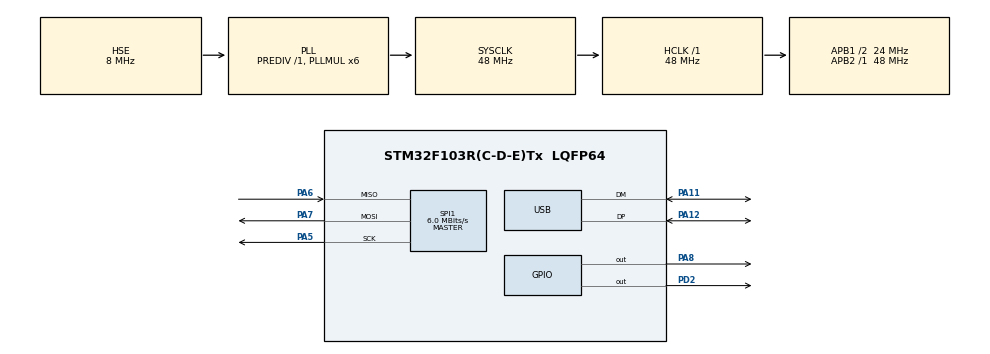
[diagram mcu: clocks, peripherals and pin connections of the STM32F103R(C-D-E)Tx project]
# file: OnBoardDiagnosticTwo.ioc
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Mcu.Family=STM32F1
Mcu.Name=STM32F103R(C-D-E)Tx
Mcu.Package=LQFP64
NVIC.PriorityGroup=NVIC_PRIORITYGROUP_4
NVIC.USB_LP_CAN1_RX0_IRQn=true\:0\:0\:false\:false\:true\:false
PA11.Mode=Device
PA11.Signal=USB_DM
PA12.Mode=Device
PA12.Signal=USB_DP
PA13.Mode=Serial_Wire
PA13.Signal=SYS_JTMS-SWDIO
PA14.Mode=Serial_Wire
PA14.Signal=SYS_JTCK-SWCLK
PA5.Mode=Full_Duplex_Master
PA5.Signal=SPI1_SCK
PA6.Mode=Full_Duplex_Master
PA6.Signal=SPI1_MISO
PA7.Mode=Full_Duplex_Master
PA7.Signal=SPI1_MOSI
PA8.Signal=GPIO_Output
PC14-OSC32_IN.Mode=LSE-External-Oscillator
PC14-OSC32_IN.Signal=RCC_OSC32_IN
PC15-OSC32_OUT.Mode=LSE-External-Oscillator
PC15-OSC32_OUT.Signal=RCC_OSC32_OUT
PD0-OSC_IN.Mode=HSE-External-Oscillator
PD0-OSC_IN.Signal=RCC_OSC_IN
PD1-OSC_OUT.Mode=HSE-External-Oscillator
PD1-OSC_OUT.Signal=RCC_OSC_OUT
PD2.Signal=GPIO_Output
ProjectManager.HeapSize=0x200
ProjectManager.StackSize=0x400
ProjectManager.TargetToolchain=MDK-ARM V5
RCC.AHBFreq_Value=48000000
RCC.APB1CLKDivider=RCC_HCLK_DIV2
RCC.APB1Freq_Value=24000000
RCC.APB1TimFreq_Value=48000000
RCC.APB2Freq_Value=48000000
RCC.APB2TimFreq_Value=48000000
RCC.HCLKFreq_Value=48000000
RCC.PLLMUL=RCC_PLL_MUL6
RCC.SYSCLKFreq_VALUE=48000000
RCC.SYSCLKSource=RCC_SYSCLKSOURCE_PLLCLK
RCC.USBFreq_Value=48000000
SPI1.BaudRatePrescaler=SPI_BAUDRATEPRESCALER_8
SPI1.CalculateBaudRate=6.0 MBits/s
SPI1.Direction=SPI_DIRECTION_2LINES
SPI1.Mode=SPI_MODE_MASTER
SPI1.VirtualType=VM_MASTER
USB_DEVICE.CLASS_NAME_FS=CDC
USB_DEVICE.VirtualMode=Cdc
USB_DEVICE.VirtualModeFS=Cdc_FS
VP_USB_DEVICE_VS_USB_DEVICE_CDC_FS.Mode=CDC_FS
board=custom

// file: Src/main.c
/* USER CODE BEGIN Header */
/**
  ******************************************************************************
  * @file           : main.c
  * @brief          : Main program body
  ******************************************************************************
  * This notice applies to any and all portions of this file
  * that are not between comment pairs USER CODE BEGIN and
  * USER CODE END. Other portions of this file, whether
  * inserted by the user or by software development tools
  * are owned by their respective copyright owners.
  *
  * Copyright (c) 2019 STMicroelectronics International N.V.
  * All rights reserved.
  *
  * Redistribution and use in source and binary forms, with or without
  * modification, are permitted, provided that the following conditions are met:
  *
  * 1. Redistribution of source code must retain the above copyright notice,
  *    this list of conditions and the following disclaimer.
  * 2. Redistributions in binary form must reproduce the above copyright notice,
  *    this list of conditions and the following disclaimer in the documentation
  *    and/or other materials provided with the distribution.
  * 3. Neither the name of STMicroelectronics nor the names of other
  *    contributors to this software may be used to endorse or promote products
  *    derived from this software without specific written permission.
  * 4. This software, including modifications and/or derivative works of this
  *    software, must execute solely and exclusively on microcontroller or
  *    microprocessor devices manufactured by or for STMicroelectronics.
  * 5. Redistribution and use of this software other than as permitted under
  *    this license is void and will automatically terminate your rights under
  *    this license.
  *
  * THIS SOFTWARE IS PROVIDED BY STMICROELECTRONICS AND CONTRIBUTORS "AS IS"
  * AND ANY EXPRESS, IMPLIED OR STATUTORY WARRANTIES, INCLUDING, BUT NOT
  * LIMITED TO, THE IMPLIED WARRANTIES OF MERCHANTABILITY, FITNESS FOR A
  * PARTICULAR PURPOSE AND NON-INFRINGEMENT OF THIRD PARTY INTELLECTUAL PROPERTY
  * RIGHTS ARE DISCLAIMED TO THE FULLEST EXTENT PERMITTED BY LAW. IN NO EVENT
  * SHALL STMICROELECTRONICS OR CONTRIBUTORS BE LIABLE FOR ANY DIRECT, INDIRECT,
  * INCIDENTAL, SPECIAL, EXEMPLARY, OR CONSEQUENTIAL DAMAGES (INCLUDING, BUT NOT
  * LIMITED TO, PROCUREMENT OF SUBSTITUTE GOODS OR SERVICES; LOSS OF USE, DATA,
  * OR PROFITS; OR BUSINESS INTERRUPTION) HOWEVER CAUSED AND ON ANY THEORY OF
  * LIABILITY, WHETHER IN CONTRACT, STRICT LIABILITY, OR TORT (INCLUDING
  * NEGLIGENCE OR OTHERWISE) ARISING IN ANY WAY OUT OF THE USE OF THIS SOFTWARE,
  * EVEN IF ADVISED OF THE POSSIBILITY OF SUCH DAMAGE.
  *
  ******************************************************************************
  */
/* USER CODE END Header */

#include "main.h"
#include "usb_device.h"

SPI_HandleTypeDef hspi1;

void SystemClock_Config(void);
static void MX_GPIO_Init(void);
static void MX_SPI1_Init(void);

void SetSPIBitRead(void);
void SetSPIBitWrite(uint8_t* inData, uint8_t inLength);

/* USER CODE BEGIN 0 */

uint8_t spiTxBuf[2];			//!< the transit buffer
uint8_t spiRxBuf[2];			//!< the receive buffer

/* USER CODE END 0 */

int main(void)
{

  /* MCU Configuration--------------------------------------------------------*/

  /* Reset of all peripherals, Initializes the Flash interface and the Systick. */
  HAL_Init();

  /* Configure the system clock */
  SystemClock_Config();

  /* Initialize all configured peripherals */
  MX_GPIO_Init();
  MX_SPI1_Init();
  MX_USB_DEVICE_Init();
  /* USER CODE BEGIN 2 */

	// Notify led
	HAL_GPIO_TogglePin(GPIOA, GPIO_PIN_8);
	HAL_Delay(250);
	HAL_GPIO_TogglePin(GPIOD, GPIO_PIN_2);
	HAL_Delay(250);
	HAL_GPIO_TogglePin(GPIOA, GPIO_PIN_8);
	HAL_Delay(250);
	HAL_GPIO_TogglePin(GPIOD, GPIO_PIN_2);
	HAL_Delay(250);
  /* USER CODE END 2 */

  /* Infinite loop */
  while (1)
  {

  }
}

void SystemClock_Config(void)
{
  RCC_OscInitTypeDef RCC_OscInitStruct = {0};
  RCC_ClkInitTypeDef RCC_ClkInitStruct = {0};
  RCC_PeriphCLKInitTypeDef PeriphClkInit = {0};

  /**Initializes the CPU, AHB and APB busses clocks
  */
  RCC_OscInitStruct.OscillatorType = RCC_OSCILLATORTYPE_HSE;
  RCC_OscInitStruct.HSEState = RCC_HSE_ON;
  RCC_OscInitStruct.HSEPredivValue = RCC_HSE_PREDIV_DIV1;
  RCC_OscInitStruct.HSIState = RCC_HSI_ON;
  RCC_OscInitStruct.PLL.PLLState = RCC_PLL_ON;
  RCC_OscInitStruct.PLL.PLLSource = RCC_PLLSOURCE_HSE;
  RCC_OscInitStruct.PLL.PLLMUL = RCC_PLL_MUL6;
  if (HAL_RCC_OscConfig(&RCC_OscInitStruct) != HAL_OK)
  {
    Error_Handler();
  }
  /**Initializes the CPU, AHB and APB busses clocks
  */
  RCC_ClkInitStruct.ClockType = RCC_CLOCKTYPE_HCLK|RCC_CLOCKTYPE_SYSCLK
                              |RCC_CLOCKTYPE_PCLK1|RCC_CLOCKTYPE_PCLK2;
  RCC_ClkInitStruct.SYSCLKSource = RCC_SYSCLKSOURCE_PLLCLK;
  RCC_ClkInitStruct.AHBCLKDivider = RCC_SYSCLK_DIV1;
  RCC_ClkInitStruct.APB1CLKDivider = RCC_HCLK_DIV2;
  RCC_ClkInitStruct.APB2CLKDivider = RCC_HCLK_DIV1;

  if (HAL_RCC_ClockConfig(&RCC_ClkInitStruct, FLASH_LATENCY_1) != HAL_OK)
  {
    Error_Handler();
  }
  PeriphClkInit.PeriphClockSelection = RCC_PERIPHCLK_USB;
  PeriphClkInit.UsbClockSelection = RCC_USBCLKSOURCE_PLL;
  if (HAL_RCCEx_PeriphCLKConfig(&PeriphClkInit) != HAL_OK)
  {
    Error_Handler();
  }
}

static void MX_SPI1_Init(void)
{

  /* SPI1 parameter configuration*/
  hspi1.Instance = SPI1;
  hspi1.Init.Mode = SPI_MODE_MASTER;
  hspi1.Init.Direction = SPI_DIRECTION_2LINES;
  hspi1.Init.DataSize = SPI_DATASIZE_8BIT;
  hspi1.Init.CLKPolarity = SPI_POLARITY_LOW;
  hspi1.Init.CLKPhase = SPI_PHASE_1EDGE;
  hspi1.Init.NSS = SPI_NSS_SOFT;
  hspi1.Init.BaudRatePrescaler = SPI_BAUDRATEPRESCALER_8;
  hspi1.Init.FirstBit = SPI_FIRSTBIT_MSB;
  hspi1.Init.TIMode = SPI_TIMODE_DISABLE;
  hspi1.Init.CRCCalculation = SPI_CRCCALCULATION_DISABLE;
  hspi1.Init.CRCPolynomial = 10;
  if (HAL_SPI_Init(&hspi1) != HAL_OK)
  {
    Error_Handler();
  }

}

static void MX_GPIO_Init(void)
{
  GPIO_InitTypeDef GPIO_InitStruct = {0};

  /* GPIO Ports Clock Enable */
  __HAL_RCC_GPIOC_CLK_ENABLE();
  __HAL_RCC_GPIOD_CLK_ENABLE();
  __HAL_RCC_GPIOA_CLK_ENABLE();
  __HAL_RCC_GPIOB_CLK_ENABLE();

  /*Configure GPIO pin Output Level */
  HAL_GPIO_WritePin(GPIOA, GPIO_PIN_8, GPIO_PIN_RESET);

  /*Configure GPIO pin Output Level */
  HAL_GPIO_WritePin(GPIOD, GPIO_PIN_2, GPIO_PIN_RESET);

  /*Configure GPIO pins : PC13 PC0 PC1 PC2
                           PC3 PC4 PC5 PC6
                           PC7 PC8 PC9 PC10
                           PC11 PC12 */
  GPIO_InitStruct.Pin = GPIO_PIN_13|GPIO_PIN_0|GPIO_PIN_1|GPIO_PIN_2
                          |GPIO_PIN_3|GPIO_PIN_4|GPIO_PIN_5|GPIO_PIN_6
                          |GPIO_PIN_7|GPIO_PIN_8|GPIO_PIN_9|GPIO_PIN_10
                          |GPIO_PIN_11|GPIO_PIN_12;
  GPIO_InitStruct.Mode = GPIO_MODE_ANALOG;
  HAL_GPIO_Init(GPIOC, &GPIO_InitStruct);

  /*Configure GPIO pins : PA0 PA1 PA2 PA3
                           PA4 PA9 PA10 PA15 */
  GPIO_InitStruct.Pin = GPIO_PIN_0|GPIO_PIN_1|GPIO_PIN_2|GPIO_PIN_3
                          |GPIO_PIN_4|GPIO_PIN_9|GPIO_PIN_10|GPIO_PIN_15;
  GPIO_InitStruct.Mode = GPIO_MODE_ANALOG;
  HAL_GPIO_Init(GPIOA, &GPIO_InitStruct);

  /*Configure GPIO pins : PB0 PB1 PB2 PB10
                           PB11 PB12 PB13 PB14
                           PB15 PB3 PB4 PB5
                           PB6 PB7 PB8 PB9 */
  GPIO_InitStruct.Pin = GPIO_PIN_0|GPIO_PIN_1|GPIO_PIN_2|GPIO_PIN_10
                          |GPIO_PIN_11|GPIO_PIN_12|GPIO_PIN_13|GPIO_PIN_14
                          |GPIO_PIN_15|GPIO_PIN_3|GPIO_PIN_4|GPIO_PIN_5
                          |GPIO_PIN_6|GPIO_PIN_7|GPIO_PIN_8|GPIO_PIN_9;
  GPIO_InitStruct.Mode = GPIO_MODE_ANALOG;
  HAL_GPIO_Init(GPIOB, &GPIO_InitStruct);

  /*Configure GPIO pin : PA8 */
  GPIO_InitStruct.Pin = GPIO_PIN_8;
  GPIO_InitStruct.Mode = GPIO_MODE_OUTPUT_PP;
  GPIO_InitStruct.Pull = GPIO_NOPULL;
  GPIO_InitStruct.Speed = GPIO_SPEED_FREQ_LOW;
  HAL_GPIO_Init(GPIOA, &GPIO_InitStruct);

  /*Configure GPIO pin : PD2 */
  GPIO_InitStruct.Pin = GPIO_PIN_2;
  GPIO_InitStruct.Mode = GPIO_MODE_OUTPUT_PP;
  GPIO_InitStruct.Pull = GPIO_NOPULL;
  GPIO_InitStruct.Speed = GPIO_SPEED_FREQ_LOW;
  HAL_GPIO_Init(GPIOD, &GPIO_InitStruct);

}

/* USER CODE BEGIN 4 */
void SetSPIBitRead()
{
	spiTxBuf[0] = 0x20|0x80;
	memset(spiRxBuf, 0x00, 2);
	HAL_SPI_Transmit(&hspi1, spiTxBuf, 1, 50);
	HAL_SPI_Receive(&hspi1, spiRxBuf, 2, 50);
}

void SetSPIBitWrite(uint8_t* inData, uint8_t inLength)
{
	spiTxBuf[0] = 0x20;
	memcpy(&spiTxBuf[1], inData, inLength);
	HAL_SPI_Transmit(&hspi1, spiTxBuf, 1, 50);
}

/* USER CODE END 4 */

void Error_Handler(void)
{
}

/************************ (C) COPYRIGHT STMicroelectronics *****END OF FILE****/
